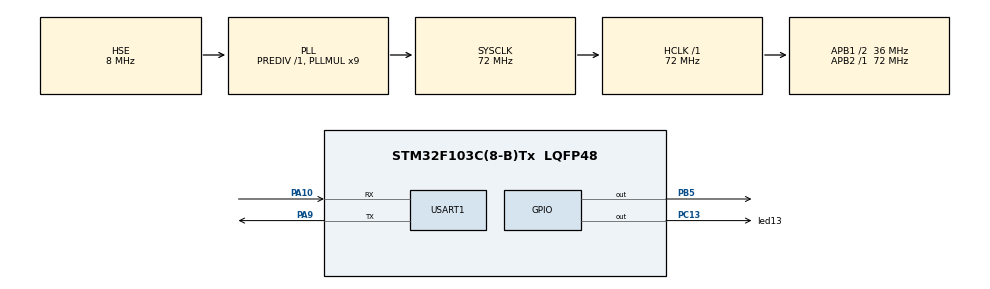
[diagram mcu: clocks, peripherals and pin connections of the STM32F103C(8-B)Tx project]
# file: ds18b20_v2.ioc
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Mcu.Family=STM32F1
Mcu.Name=STM32F103C(8-B)Tx
Mcu.Package=LQFP48
NVIC.PriorityGroup=NVIC_PRIORITYGROUP_4
NVIC.TIM4_IRQn=true\:0\:0\:false\:false\:true\:true
PA10.Mode=Asynchronous
PA10.Signal=USART1_RX
PA13.Mode=Serial_Wire
PA13.Signal=SYS_JTMS-SWDIO
PA14.Mode=Serial_Wire
PA14.Signal=SYS_JTCK-SWCLK
PA9.Mode=Asynchronous
PA9.Signal=USART1_TX
PB5.GPIO_ModeDefaultOutputPP=GPIO_MODE_OUTPUT_OD
PB5.Signal=GPIO_Output
PC13-TAMPER-RTC.GPIO_Label=led13
PC13-TAMPER-RTC.PinState=GPIO_PIN_SET
PC13-TAMPER-RTC.Signal=GPIO_Output
PD0-OSC_IN.Mode=HSE-External-Oscillator
PD0-OSC_IN.Signal=RCC_OSC_IN
PD1-OSC_OUT.Mode=HSE-External-Oscillator
PD1-OSC_OUT.Signal=RCC_OSC_OUT
ProjectManager.HeapSize=0x200
ProjectManager.StackSize=0x400
ProjectManager.TargetToolchain=TrueSTUDIO
RCC.AHBFreq_Value=72000000
RCC.APB1CLKDivider=RCC_HCLK_DIV2
RCC.APB1Freq_Value=36000000
RCC.APB1TimFreq_Value=72000000
RCC.APB2Freq_Value=72000000
RCC.APB2TimFreq_Value=72000000
RCC.HCLKFreq_Value=72000000
RCC.PLLMUL=RCC_PLL_MUL9
RCC.PLLSourceVirtual=RCC_PLLSOURCE_HSE
RCC.SYSCLKFreq_VALUE=72000000
RCC.SYSCLKSource=RCC_SYSCLKSOURCE_PLLCLK
RCC.USBFreq_Value=72000000
TIM4.Period=7600
TIM4.Prescaler=7199
USART1.VirtualMode=VM_ASYNC
VP_TIM4_VS_ClockSourceINT.Mode=Internal
board=custom

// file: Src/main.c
/* USER CODE BEGIN Header */
/**
  ******************************************************************************
  * @file           : main.c
  * @brief          : Main program body
  ******************************************************************************
  ** This notice applies to any and all portions of this file
  * that are not between comment pairs USER CODE BEGIN and
  * USER CODE END. Other portions of this file, whether
  * inserted by the user or by software development tools
  * are owned by their respective copyright owners.
  *
  * COPYRIGHT(c) 2019 STMicroelectronics
  *
  * Redistribution and use in source and binary forms, with or without modification,
  * are permitted provided that the following conditions are met:
  *   1. Redistributions of source code must retain the above copyright notice,
  *      this list of conditions and the following disclaimer.
  *   2. Redistributions in binary form must reproduce the above copyright notice,
  *      this list of conditions and the following disclaimer in the documentation
  *      and/or other materials provided with the distribution.
  *   3. Neither the name of STMicroelectronics nor the names of its contributors
  *      may be used to endorse or promote products derived from this software
  *      without specific prior written permission.
  *
  * THIS SOFTWARE IS PROVIDED BY THE COPYRIGHT HOLDERS AND CONTRIBUTORS "AS IS"
  * AND ANY EXPRESS OR IMPLIED WARRANTIES, INCLUDING, BUT NOT LIMITED TO, THE
  * IMPLIED WARRANTIES OF MERCHANTABILITY AND FITNESS FOR A PARTICULAR PURPOSE ARE
  * DISCLAIMED. IN NO EVENT SHALL THE COPYRIGHT HOLDER OR CONTRIBUTORS BE LIABLE
  * FOR ANY DIRECT, INDIRECT, INCIDENTAL, SPECIAL, EXEMPLARY, OR CONSEQUENTIAL
  * DAMAGES (INCLUDING, BUT NOT LIMITED TO, PROCUREMENT OF SUBSTITUTE GOODS OR
  * SERVICES; LOSS OF USE, DATA, OR PROFITS; OR BUSINESS INTERRUPTION) HOWEVER
  * CAUSED AND ON ANY THEORY OF LIABILITY, WHETHER IN CONTRACT, STRICT LIABILITY,
  * OR TORT (INCLUDING NEGLIGENCE OR OTHERWISE) ARISING IN ANY WAY OUT OF THE USE
  * OF THIS SOFTWARE, EVEN IF ADVISED OF THE POSSIBILITY OF SUCH DAMAGE.
  *
  ******************************************************************************
  */
/* USER CODE END Header */

#include "main.h"

/* USER CODE BEGIN Includes */
#include "string.h"
#include "ds18b20.h"
/* USER CODE END Includes */

TIM_HandleTypeDef htim4;

UART_HandleTypeDef huart1;

/* USER CODE BEGIN PV */
volatile uint8_t flag = 1;
/* USER CODE END PV */

void SystemClock_Config(void);
static void MX_GPIO_Init(void);
static void MX_USART1_UART_Init(void);
static void MX_TIM4_Init(void);

int main(void)
{

  /* MCU Configuration--------------------------------------------------------*/

  /* Reset of all peripherals, Initializes the Flash interface and the Systick. */
  HAL_Init();

  /* Configure the system clock */
  SystemClock_Config();

  /* Initialize all configured peripherals */
  MX_GPIO_Init();
  MX_USART1_UART_Init();
  MX_TIM4_Init();
  /* USER CODE BEGIN 2 */

  Init_ds18b20(DS18B20_Resolution_12_bit);
  /* USER CODE END 2 */

  /* Infinite loop */
  /* USER CODE BEGIN WHILE */
  while (1)
  {
	  if(flag == 1)
	  {
		  flag = 0;
		  ds18b20_getTemperature(); // зависаем на ~2мс
	  }
	  else if(flag == 2) // когда таймер отсчитает 750мс, он установит flag == 2
	  {
		  flag = 0;

		  int16_t temp = resTemperature(); // зависаем на ~3мс

		  float t = temp / 16.0;
		  char str[32] = {0,};

		  snprintf(str, 32, "Temp dec: %d\n", temp / 16);
		  HAL_UART_Transmit(&huart1, (uint8_t*)str, strlen(str), 1000);

		  snprintf(str, 32, "Temp float: %.2f\n", t);
		  HAL_UART_Transmit(&huart1, (uint8_t*)str, strlen(str), 1000);

		  flag = 1; // запускаем новое измерение. Можно делать это где-то в другом месте, в зависимости от того, как часто нужно производить измерения
	  }

	  HAL_GPIO_TogglePin(led13_GPIO_Port, led13_Pin);
	  HAL_Delay(50);

    /* USER CODE END WHILE */

  }
}

void SystemClock_Config(void)
{
  RCC_OscInitTypeDef RCC_OscInitStruct = {0};
  RCC_ClkInitTypeDef RCC_ClkInitStruct = {0};

  /**Initializes the CPU, AHB and APB busses clocks
  */
  RCC_OscInitStruct.OscillatorType = RCC_OSCILLATORTYPE_HSE;
  RCC_OscInitStruct.HSEState = RCC_HSE_ON;
  RCC_OscInitStruct.HSEPredivValue = RCC_HSE_PREDIV_DIV1;
  RCC_OscInitStruct.HSIState = RCC_HSI_ON;
  RCC_OscInitStruct.PLL.PLLState = RCC_PLL_ON;
  RCC_OscInitStruct.PLL.PLLSource = RCC_PLLSOURCE_HSE;
  RCC_OscInitStruct.PLL.PLLMUL = RCC_PLL_MUL9;
  if (HAL_RCC_OscConfig(&RCC_OscInitStruct) != HAL_OK)
  {
    Error_Handler();
  }
  /**Initializes the CPU, AHB and APB busses clocks
  */
  RCC_ClkInitStruct.ClockType = RCC_CLOCKTYPE_HCLK|RCC_CLOCKTYPE_SYSCLK
                              |RCC_CLOCKTYPE_PCLK1|RCC_CLOCKTYPE_PCLK2;
  RCC_ClkInitStruct.SYSCLKSource = RCC_SYSCLKSOURCE_PLLCLK;
  RCC_ClkInitStruct.AHBCLKDivider = RCC_SYSCLK_DIV1;
  RCC_ClkInitStruct.APB1CLKDivider = RCC_HCLK_DIV2;
  RCC_ClkInitStruct.APB2CLKDivider = RCC_HCLK_DIV1;

  if (HAL_RCC_ClockConfig(&RCC_ClkInitStruct, FLASH_LATENCY_2) != HAL_OK)
  {
    Error_Handler();
  }
}

static void MX_TIM4_Init(void)
{

  TIM_ClockConfigTypeDef sClockSourceConfig = {0};
  TIM_MasterConfigTypeDef sMasterConfig = {0};

  htim4.Instance = TIM4;
  htim4.Init.Prescaler = 7199;
  htim4.Init.CounterMode = TIM_COUNTERMODE_UP;
  htim4.Init.Period = 7600;
  htim4.Init.ClockDivision = TIM_CLOCKDIVISION_DIV1;
  htim4.Init.AutoReloadPreload = TIM_AUTORELOAD_PRELOAD_DISABLE;
  if (HAL_TIM_Base_Init(&htim4) != HAL_OK)
  {
    Error_Handler();
  }
  sClockSourceConfig.ClockSource = TIM_CLOCKSOURCE_INTERNAL;
  if (HAL_TIM_ConfigClockSource(&htim4, &sClockSourceConfig) != HAL_OK)
  {
    Error_Handler();
  }
  sMasterConfig.MasterOutputTrigger = TIM_TRGO_RESET;
  sMasterConfig.MasterSlaveMode = TIM_MASTERSLAVEMODE_DISABLE;
  if (HAL_TIMEx_MasterConfigSynchronization(&htim4, &sMasterConfig) != HAL_OK)
  {
    Error_Handler();
  }

}

static void MX_USART1_UART_Init(void)
{

  huart1.Instance = USART1;
  huart1.Init.BaudRate = 115200;
  huart1.Init.WordLength = UART_WORDLENGTH_8B;
  huart1.Init.StopBits = UART_STOPBITS_1;
  huart1.Init.Parity = UART_PARITY_NONE;
  huart1.Init.Mode = UART_MODE_TX_RX;
  huart1.Init.HwFlowCtl = UART_HWCONTROL_NONE;
  huart1.Init.OverSampling = UART_OVERSAMPLING_16;
  if (HAL_UART_Init(&huart1) != HAL_OK)
  {
    Error_Handler();
  }

}

static void MX_GPIO_Init(void)
{
  GPIO_InitTypeDef GPIO_InitStruct = {0};

  /* GPIO Ports Clock Enable */
  __HAL_RCC_GPIOC_CLK_ENABLE();
  __HAL_RCC_GPIOD_CLK_ENABLE();
  __HAL_RCC_GPIOA_CLK_ENABLE();
  __HAL_RCC_GPIOB_CLK_ENABLE();

  /*Configure GPIO pin Output Level */
  HAL_GPIO_WritePin(led13_GPIO_Port, led13_Pin, GPIO_PIN_SET);

  /*Configure GPIO pin Output Level */
  HAL_GPIO_WritePin(GPIOB, GPIO_PIN_5, GPIO_PIN_RESET);

  /*Configure GPIO pin : led13_Pin */
  GPIO_InitStruct.Pin = led13_Pin;
  GPIO_InitStruct.Mode = GPIO_MODE_OUTPUT_PP;
  GPIO_InitStruct.Pull = GPIO_NOPULL;
  GPIO_InitStruct.Speed = GPIO_SPEED_FREQ_LOW;
  HAL_GPIO_Init(led13_GPIO_Port, &GPIO_InitStruct);

  /*Configure GPIO pin : PB5 */
  GPIO_InitStruct.Pin = GPIO_PIN_5;
  GPIO_InitStruct.Mode = GPIO_MODE_OUTPUT_OD;
  GPIO_InitStruct.Pull = GPIO_NOPULL;
  GPIO_InitStruct.Speed = GPIO_SPEED_FREQ_LOW;
  HAL_GPIO_Init(GPIOB, &GPIO_InitStruct);

}

void Error_Handler(void)
{
}

/************************ (C) COPYRIGHT STMicroelectronics *****END OF FILE****/
